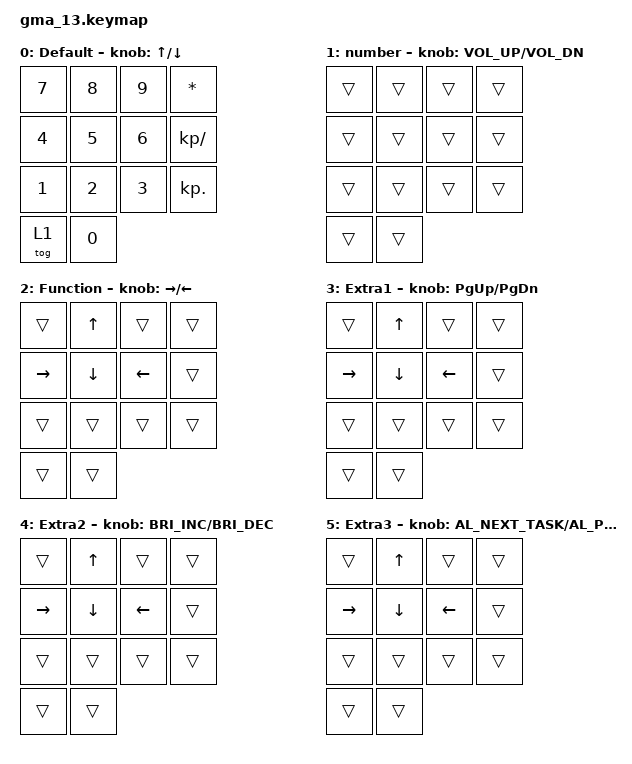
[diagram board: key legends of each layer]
#include <behaviors.dtsi>
#include <dt-bindings/zmk/keys.h>
#include <dt-bindings/zmk/bt.h>


#define COMBO(NAME, BINDINGS, KEYPOS) \
  combo_##NAME { \
    timeout-ms = <50>; \
    bindings = <BINDINGS>; \
    key-positions = <KEYPOS>; \
    layers = <0>; \
  };

/ {


        behaviors {
                hm: homerow_mods {
                        compatible = "zmk,behavior-hold-tap";
                        label = "HOMEROW_MODS";
                        #binding-cells = <2>;
                        tapping_term_ms = <190>;
                        quick-tap-ms = <175>;
                        flavor = "tap-preferred";
                        bindings = <&kp>, <&kp>;
                };
        };

        combos {
                compatible = "zmk,combos";
                      
                COMBO(up, &kp UP, 1 2)
                COMBO(home, &kp HOME, 0 1)
                COMBO(end, &kp END, 2 3)
                COMBO(dw, &kp LEFT, 4 5)
                COMBO(lf, &kp RIGHT, 6 7)
                COMBO(rt, &kp DOWN, 5 6)
                COMBO(extra, &tog 1, 11 13)
     
        };

    keymap {
        compatible = "zmk,keymap";

        default_layer {
            display-name = "Default";
            
            bindings =<
                &kp N7      &kp N8    &kp N9    &kp STAR
                &kp N4      &kp N5    &kp N6    &kp KP_SLASH
                &kp N1      &kp N2    &kp N3    &kp KP_DOT
                &tog 1    &kp N0
            >;
            sensor-bindings = <&inc_dec_kp UP DOWN>;

        };

        number_layer {
            display-name = "number";

            bindings =<
                &trans      &trans    &trans    &trans
                &trans      &trans    &trans    &trans
                &trans      &trans    &trans    &trans
                &trans  &trans
            >;
            sensor-bindings = <&inc_dec_kp C_VOL_UP C_VOL_DN>;

        };

        function_layer {
            display-name = "Function";

            bindings =<
                &trans      &kp UP   &trans    &trans
                &kp RIGHT      &kp DOWN    &kp LEFT    &trans
                &trans      &trans    &trans    &trans
                &trans  &trans
            >;
            sensor-bindings = <&inc_dec_kp RIGHT LEFT>;

        };

        extra_layer1 {
            display-name = "Extra1";

            bindings =<
                &trans      &kp UP   &trans    &trans
                &kp RIGHT      &kp DOWN    &kp LEFT    &trans
                &trans      &trans    &trans    &trans
                &trans  &trans
            >;
            sensor-bindings = <&inc_dec_kp PG_UP PG_DN>;

        };
        extra_layer2 {
            display-name = "Extra2";

            bindings =<
                &trans      &kp UP   &trans    &trans
                &kp RIGHT      &kp DOWN    &kp LEFT    &trans
                &trans      &trans    &trans    &trans
                &trans  &trans
            >;
            sensor-bindings = <&inc_dec_kp C_BRI_INC C_BRI_DEC>;

        };
        extra_layer3 {
            display-name = "Extra3";

            bindings =<
                &trans      &kp UP   &trans    &trans
                &kp RIGHT      &kp DOWN    &kp LEFT    &trans
                &trans      &trans    &trans    &trans
                &trans  &trans
            >;
            sensor-bindings = <&inc_dec_kp C_AL_NEXT_TASK C_AL_PREV_TASK>;

        };
    };
};
